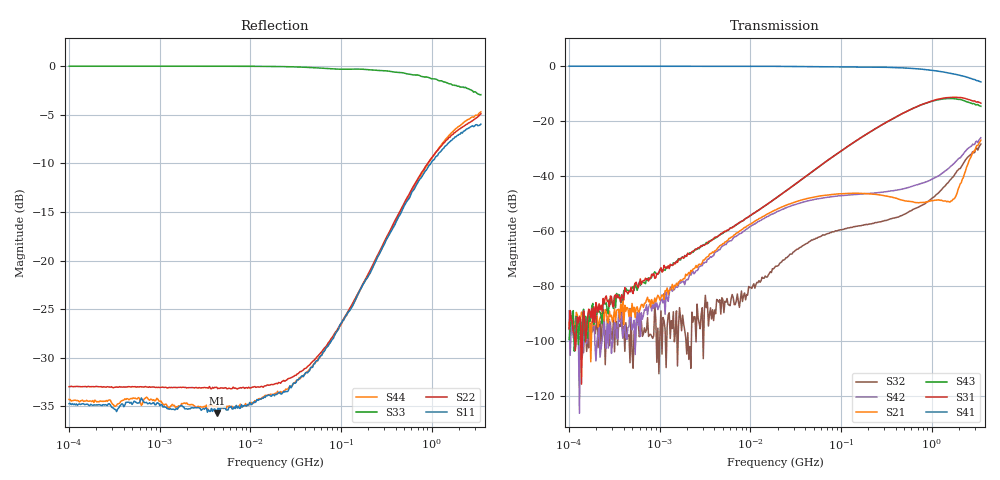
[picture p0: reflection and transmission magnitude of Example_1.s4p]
!Keysight Technologies,E5080A,MY55200740,A.12.60.03
!Date: Wednesday, July 22, 2020 12:06:28
!Correction: S11(Full 4 Port(1,2,3,4))
!S12(Full 4 Port(1,2,3,4))
!S13(Full 4 Port(1,2,3,4))
!S14(Full 4 Port(1,2,3,4))
!S21(Full 4 Port(1,2,3,4))
!S22(Full 4 Port(1,2,3,4))
!S23(Full 4 Port(1,2,3,4))
!S24(Full 4 Port(1,2,3,4))
!S31(Full 4 Port(1,2,3,4))
!S32(Full 4 Port(1,2,3,4))
!S33(Full 4 Port(1,2,3,4))
!S34(Full 4 Port(1,2,3,4))
!S41(Full 4 Port(1,2,3,4))
!S42(Full 4 Port(1,2,3,4))
!S43(Full 4 Port(1,2,3,4))
!S44(Full 4 Port(1,2,3,4))
!S4P File: Measurements: <S11,S12,S13,S14>,
!<S21,S22,S23,S24>,
!<S31,S32,S33,S34>,
!<S41,S42,S43,S44>:Log Frequency Sweep
# Hz S  dB  R 50
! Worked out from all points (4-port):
!   400 points, 100 kHz to 3.5 GHz, reference 50 ohm
!   strongest paths, dB at 100 kHz, 1.377 MHz, 18.96 MHz, 261 MHz, 3.5 GHz:
!     S41: -0.2, -0.2, -0.2, -0.5, -5.9
!     S31: -95.4, -72.4, -48.2, -22.1, -13.6
!     S43: -99.4, -72.5, -48.2, -22.1, -14.7
!     S21: -94.1, -79.4, -52.4, -46.8, -27.0
!     S42: -89.1, -81.9, -53.3, -46.0, -26.1
!     S32: -95.5, -95.4, -72.8, -56.7, -28.4
!   lowest |S11| = -35.7 dB at 4.252 MHz (marker M1), VSWR 1.03, Z = 51.6 - j0.531 ohm
!   |S11| at or under -10 dB: start of sweep to 980.9 MHz
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100000  -34.72 7.4  -88.65 49.1  -103.16 18.2  -0.16 -0.0
        -94.15 -176.6  -32.97 1.9  -103.99 157.6  -91.59 -147.6
        -95.44 179.9  -95.49 41.0  0.00 -0.0  -94.49 7.1
        -0.16 -0.0  -89.07 128.4  -99.39 108.4  -34.29 7.3
1489464  -35.34 -11.0  -80.25 103.7  -71.55 89.5  -0.15 -0.1
         -80.05 144.1  -33.05 -4.2  -94.58 90.9  -79.63 152.5
         -71.91 96.2  -96.81 61.8  0.00 -0.1  -71.34 92.7
         -0.15 -0.1  -80.38 126.0  -71.42 89.7  -35.10 -8.7
4251829  -35.71 -18.3  -66.62 104.9  -62.20 94.2  -0.16 -0.3
         -66.76 122.2  -33.03 -12.0  -86.45 111.3  -67.82 126.8
         -62.16 93.2  -84.84 99.9  -0.00 -0.3  -61.84 93.1
         -0.16 -0.3  -67.44 112.6  -62.27 93.4  -35.05 -14.7
1.245977e7  -34.31 -45.9  -55.54 80.7  -52.30 98.3  -0.19 -0.8
            -55.48 85.6  -33.02 -30.6  -79.97 112.5  -56.48 86.3
            -52.32 98.6  -78.01 110.5  -0.01 -1.0  -52.29 98.5
            -0.19 -0.8  -56.49 81.0  -52.30 98.2  -34.21 -44.6
4.746034e7  -30.99 -82.1  -47.85 38.9  -38.58 100.8  -0.29 -2.0
            -47.84 40.2  -30.49 -72.6  -63.45 73.1  -48.77 32.8
            -38.59 100.7  -63.23 73.1  -0.14 -3.8  -38.61 101.3
            -0.29 -2.0  -48.77 31.7  -38.61 101.3  -30.92 -82.6
1.593708e9  -7.77 -133.0  -49.51 101.2  -11.50 15.6  -2.70 -31.9
            -49.50 101.5  -7.31 -128.0  -41.50 -88.3  -36.78 -115.1
            -11.51 15.7  -41.52 -88.3  -1.81 -75.6  -11.90 32.3
            -2.69 -31.9  -36.77 -115.1  -11.89 32.2  -7.03 -121.2
3.5e9  -5.96 -156.6  -26.99 146.7  -13.62 -14.8  -5.92 -50.1
       -27.02 146.9  -4.89 -140.8  -28.45 -179.1  -26.16 177.6
       -13.58 -15.1  -28.43 -179.4  -2.93 -110.3  -14.70 37.2
       -5.88 -50.3  -26.13 177.4  -14.70 37.3  -4.70 -143.1
